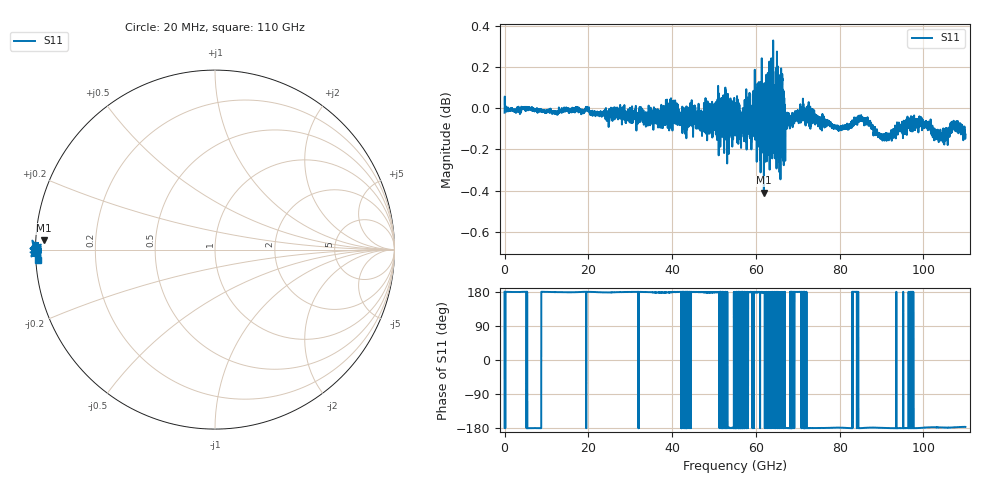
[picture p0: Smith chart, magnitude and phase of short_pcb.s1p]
! Created with skrf (http://scikit-rf.org).
# Hz S RI R 50.0
!freq ReS11 ImS11
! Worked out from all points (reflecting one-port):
!   5500 points, 20 MHz to 110 GHz, reference 50 ohm
!   lowest |S11| = -0.4 dB at 61.9 GHz (marker M1), VSWR 42.39, Z = 1.18 + j1.36 ohm
!   phase of S11 starts at 180 deg and turns +4 deg over the sweep
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2e7  -0.9976 0.000711
3.3e9  -0.9999 0.0101
7.52e9  -0.9996 -0.00427
1.378e10  -0.9986 0.0163
1.614e10  -0.9979 0.0207
1.944e10  -1.001 0.0029
2.424e10  -0.9961 0.0305
2.752e10  -0.9975 0.0144
3.206e10  -0.9954 -6.48e-05
3.76e10  -0.9944 0.0297
4.128e10  -0.997 0.00866
4.352e10  -0.9925 0.00639
4.92e10  -0.9899 0.0269
5.328e10  -1.003 -0.00512
5.502e10  -1.002 -0.00191
6.19e10  -0.9525 0.0519
6.602e10  -1.022 -0.0321
6.876e10  -0.9895 0.00306
7.95e10  -0.99 -0.0259
8.252e10  -0.9902 -0.00396
8.438e10  -0.9944 0.00152
8.764e10  -0.9893 -0.0263
9.176e10  -0.983 -0.00397
9.626e10  -0.9939 -0.00448
9.84e10  -0.9928 -0.00429
1.0212e11  -0.9894 -0.043
1.0586e11  -0.9853 -0.0245
1.1e11  -0.9835 -0.0596
